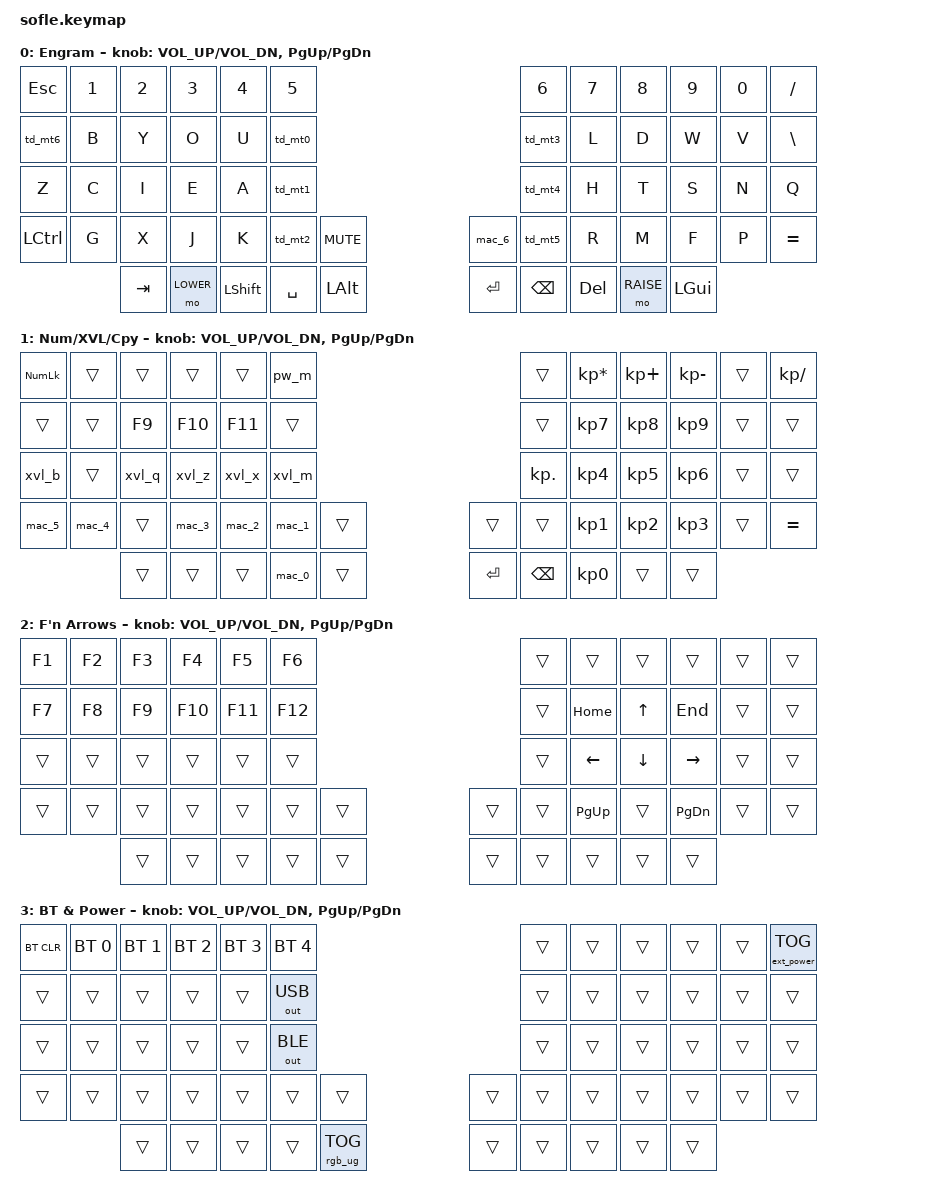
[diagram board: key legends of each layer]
/*
 * Copyright (c) 2020 The ZMK Contributors
 *
 * SPDX-License-Identifier: MIT
 */

#include <behaviors.dtsi>
#include <dt-bindings/zmk/keys.h>
#include <dt-bindings/zmk/bt.h>
#include <dt-bindings/zmk/rgb.h>
#include <dt-bindings/zmk/ext_power.h>
#include <dt-bindings/zmk/outputs.h>
#include <dt-bindings/zmk/rgb.h>

#define BASE 0
#define LOWER 1
#define RAISE 2
#define ADJUST 3

/{

   // Activate ADJUST layer by pressing raise and lower
   conditional_layers
   {
      compatible = "zmk,conditional-layers";
      adjust_layer
      {
         if-layers = <LOWER RAISE>;
         then-layer = <ADJUST>;
      };
   };

   behaviors
   {
      td0: tap_dance_0
      {
         compatible = "zmk,behavior-tap-dance";
         #binding-cells = <0>;
         tapping-term-ms = <200>;
         bindings = <&kp BACKSLASH>, <&kp PIPE>;
      };

      td1: tap_dance_1
      {
         compatible = "zmk,behavior-tap-dance";
         #binding-cells = <0>;
         tapping-term-ms = <200>;
         bindings = <&kp EQUAL>, <&kp PLUS>
         ;
      };

      td_mt0: tap_dance_mod_tap_0
      {
         compatible = "zmk,behavior-tap-dance";
         #binding-cells = <0>;
         tapping-term-ms = <200>;
		 bindings = <&mt LESS_THAN APOS>, <&kp MINUS>
         ;

      };

      td_mt1: tap_dance_mod_tap_1
      {
         compatible = "zmk,behavior-tap-dance";
         #binding-cells = <0>;
         tapping-term-ms = <200>;
	     bindings = <&mt SEMICOLON COMMA>, <&kp COLON>
         ;
      };

      td_mt2: tap_dance_mod_tap_2
      {
         compatible = "zmk,behavior-tap-dance";
         #binding-cells = <0>;
         tapping-term-ms = <200>;
	     bindings = <&mt LEFT_BRACE LPAR>, <&kp LEFT_BRACKET>
         ;
      };

      td_mt3: tap_dance_mod_tap_3
      {
         compatible = "zmk,behavior-tap-dance";
         #binding-cells = <0>;
         tapping-term-ms = <200>;
	      bindings = <&mt GREATER_THAN DOUBLE_QUOTES>, <&kp UNDERSCORE>
         ;
      };

      td_mt4: tap_dance_mod_tap_4
      {
         compatible = "zmk,behavior-tap-dance";
         #binding-cells = <0>;
         tapping-term-ms = <200>;
	      bindings = <&mt QUESTION PERIOD>, <&kp EXCLAMATION>
         ;
      };

      td_mt5: tap_dance_mod_tap_5
      {
         compatible = "zmk,behavior-tap-dance";
         #binding-cells = <0>;
         tapping-term-ms = <200>;
	     bindings = <&mt RIGHT_BRACE RPAR>, <&kp RIGHT_BRACKET>
         ;
      };

      td_mt6: tap_dance_mod_tap_6
      {
         compatible = "zmk,behavior-tap-dance";
         #binding-cells = <0>;
         tapping-term-ms = <200>;
         bindings = <&mt TILDE GRAVE>, <&kp CAPS>
         ;
      };
   };

   macros
   {
      mac_0: macro_0
      {
         compatible = "zmk,behavior-macro";
         #binding-cells = <0>;
         bindings =
         <&macro_press &kp LSHFT>,
         <&macro_press &kp LGUI>,
         <&macro_tap &kp S>,
         <&macro_release &kp LSHFT>,
         <&macro_release &kp LGUI>
         ;
      };

      mac_1: macro_1
      {
         compatible = "zmk,behavior-macro";
         #binding-cells = <0>;
         bindings =
         <&macro_press &kp LCTRL>,
         <&macro_tap &kp V>,
         <&macro_release &kp LCTRL>
         ;
      };

         mac_2: macro_2
      {
         compatible = "zmk,behavior-macro";
         #binding-cells = <0>;
         bindings =
         <&macro_press &kp LCTRL>,
         <&macro_tap &kp C>,
         <&macro_release &kp LCTRL>
         ;
      };

            mac_3: macro_3
      {
         compatible = "zmk,behavior-macro";
         #binding-cells = <0>;
         bindings =
         <&macro_press &kp LCTRL>,
         <&macro_tap &kp X>,
         <&macro_release &kp LCTRL>
         ;
      };
            mac_4: macro_4
      {
         compatible = "zmk,behavior-macro";
         #binding-cells = <0>;
         bindings =
         <&macro_press &kp LCTRL>,
         <&macro_tap &kp Y>,
         <&macro_release &kp LCTRL>
         ;
      };
            mac_5: macro_5
      {
         compatible = "zmk,behavior-macro";
         #binding-cells = <0>;
         bindings =
         <&macro_press &kp LCTRL>,
         <&macro_tap &kp Z>,
         <&macro_release &kp LCTRL>
         ;
      };

            mac_6: macro_6
      {
         compatible = "zmk,behavior-macro";
         #binding-cells = <0>;
         bindings =
         <&macro_press &kp LGUI>,
         <&macro_tap &kp L>,
         <&macro_release &kp LGUI>
         ;
      };
            xvl_b: macro_7
      {
         compatible = "zmk,behavior-macro";
         #binding-cells = <0>;
         bindings =
         <&macro_press &kp LALT>,
         <&macro_tap &kp B>,
         <&macro_release &kp LALT>
         ;
      };
               xvl_x: macro_8
      {
         compatible = "zmk,behavior-macro";
         #binding-cells = <0>;
         bindings =
         <&macro_press &kp LALT>,
         <&macro_tap &kp X>,
         <&macro_release &kp LALT>
         ;
      };
               xvl_z: macro_9
      {
         compatible = "zmk,behavior-macro";
         #binding-cells = <0>;
         bindings =
         <&macro_press &kp LALT>,
         <&macro_tap &kp Z>,
         <&macro_release &kp LALT>
         ;
      };
               xvl_q: macro_10
      {
         compatible = "zmk,behavior-macro";
         #binding-cells = <0>;
         bindings =
         <&macro_press &kp LALT>,
         <&macro_tap &kp Q>,
         <&macro_release &kp LALT>
         ;
      };
               xvl_m: macro_11
      {
         compatible = "zmk,behavior-macro";
         #binding-cells = <0>;
         bindings =
         <&macro_press &kp LCTRL>,
         <&macro_tap &kp M>,
         <&macro_release &kp LCTRL>
         ;
      };
               pw_m: macro_12
      {
         compatible = "zmk,behavior-macro";
         #binding-cells = <0>;
         bindings =
         <&macro_press &kp LSHFT>,
         <&macro_tap &kp E>,
         <&macro_release &kp LSHFT>,
		 <&macro_tap &kp R>,
		 <&macro_tap &kp N7>,
		 <&macro_tap &kp Z>,
		 <&macro_tap &kp N3>,
		 <&macro_tap &kp F>,
         <&macro_press &kp LSHFT>,
         <&macro_tap &kp G>,
         <&macro_release &kp LSHFT>,
		 <&macro_tap &kp N2>,
		 <&macro_tap &kp N0>,
		 <&macro_tap &kp N2>,
		 <&macro_tap &kp N5>
         ;
      };
    };

   keymap
   {
      compatible = "zmk,keymap";

      default_layer
      {
         display-name = "Engram";

// ------------------------------------------------------------------------------------------------------------
// |    ESC   |  1  |  2  |   3   |   4   |   5   |                                                 |   6   |  7  |   8   |   9   |  0  |    /    |
// | `/~/CAPS |  B  |  Y  |   O   |   U   | '/-/< |                                                 | "/_/> |  L  |   D   |   W   |  V  |  \  |
// |     Z    |  C  |  I  |   E   |   A   | ,/:/; |                                                 | ./!/? |  H  |   T   |   S   |  N  |    Q    |
// |   CTRL   |  G  |  X  |   J   |   K   | (/[/{ |..| MUTE |                            | LOCK  |..| )/]/} |  R  |   M   |   F   |  P  |   =   |
//                  | TAB | LOWER | SHIFT | SPACE |..| LALT |                            | ENTER |..| BKSPC | DEL | RAISE | SUPER |
            bindings =
            <
   &kp ESCAPE  &kp N1  &kp N2  &kp N3    &kp N4    &kp N5                                            &kp N6    &kp N7  &kp N8    &kp N9   &kp N0  &kp SLASH
   &td_mt6     &kp B   &kp Y   &kp O     &kp U     &td_mt0                                           &td_mt3   &kp L   &kp D     &kp W    &kp V   &kp BACKSLASH
   &kp Z       &kp C   &kp I   &kp E     &kp A     &td_mt1                                           &td_mt4   &kp H   &kp T     &kp S    &kp N   &kp Q
   &kp LCTRL   &kp G   &kp X   &kp J     &kp K     &td_mt2    &kp C_MUTE                   &mac_6    &td_mt5   &kp R   &kp M     &kp F    &kp P   &kp EQUAL
                       &kp TAB &mo LOWER &kp LSHFT &kp SPACE  &kp LALT                     &kp ENTER &kp BSPC  &kp DEL &mo RAISE &kp LGUI
            >;

         sensor-bindings = <&inc_dec_kp C_VOL_UP C_VOL_DN &inc_dec_kp PG_UP PG_DN>;
      };

      lower_layer
      {
         display-name = "Num/XVL/Cpy";

// TODO: Some binds are waiting for shifted keycode support.
// ------------------------------------------------------------------------------------------------------------
// | NUM  |  -   |   -   |   -   |   -   |   -   |                                               |   -  | * | + | "-" | - | / |
// |  -   |  -   |   F9  |  F10  |  F11  |   -   |                                               |   -  | 7 | 8 |  9  | - | - |
// | XVL B|  -   | XVL Q | XVL Z | XVL X | XVL M |                                               |  "." | 4 | 5 |  6  | - | - |
// | UNDO | REDO |   -   |  CUT  |  COPY | PASTE |..| - |                               |  -  |..|   -  | 1 | 2 |  3  | - | = |
//               |   -   |   -   |   -   | SNIP  |..| - |                               | RET |..| BACK | 0 | - | - |

         bindings =
         <
   &kp KP_NUM  &trans  &trans  &trans   &trans   &pw_m                                             &trans       &kp KP_MULTIPLY   &kp KP_PLUS  &kp KP_MINUS    &trans  &kp KP_DIVIDE 
   &trans      &trans  &kp F9  &kp F10  &kp F11  &trans                                            &trans       &kp KP_N7         &kp KP_N8    &kp KP_N9       &trans         &trans
   &xvl_b      &trans  &xvl_q  &xvl_z   &xvl_x   &xvl_m                                            &kp KP_DOT   &kp KP_N4         &kp KP_N5    &kp KP_N6       &trans         &trans
   &mac_5      &mac_4  &trans  &mac_3   &mac_2   &mac_1   &trans                       &trans      &trans       &kp KP_N1         &kp KP_N2    &kp KP_N3    &trans  &kp EQUAL
                       &trans  &trans   &trans   &mac_0   &trans                       &kp RETURN  &kp BSPC     &kp KP_N0         &trans       &trans
         >;

         sensor-bindings = <&inc_dec_kp C_VOL_UP C_VOL_DN &inc_dec_kp PG_UP PG_DN>;
      };

      raise_layer
      {
         display-name = "F'n Arrows";

// ------------------------------------------------------------------------------------------------------------
// |  F1  |  F2  | F3 |  F4 |  F5  |   F6  |                                                   | - |   -  |   -  |   -   | - | - |
// |  F7  |  F8  | F9 | F10 |  F11 |  F12  |                                                   | - | HOME |  UP  |  END  | - | - |
// |  -   |  -   | -  |  -  |  -   |   -   |                                                   | - | LEFT | DOWN | RIGHT | - | - |
// |  -   |  -   | -  |  -  |  -   |   -   |..| - |                                     | - |..| - | PGUP |   -  | PGDWN | - | - |
//               | -  |  -  |  -   |   -   |..| - |                                     | - |..| - |   -  |   -  |   -   |

         bindings =
         <
   &kp F1  &kp F2  &kp F3  &kp F4   &kp F5   &kp F6                                             &trans  &trans          &trans          &trans           &trans  &trans
   &kp F7  &kp F8  &kp F9  &kp F10  &kp F11  &kp F12                                            &trans  &kp HOME        &kp UP_ARROW    &kp END          &trans  &trans
   &trans  &trans  &trans  &trans   &trans   &trans                                             &trans  &kp LEFT_ARROW  &kp DOWN_ARROW  &kp RIGHT_ARROW  &trans  &trans
   &trans  &trans  &trans  &trans   &trans   &trans   &trans                            &trans  &trans  &kp PG_UP       &trans          &kp PG_DN        &trans  &trans
                   &trans  &trans   &trans   &trans   &trans                            &trans  &trans  &trans          &trans          &trans
         >;

         sensor-bindings = <&inc_dec_kp C_VOL_UP C_VOL_DN &inc_dec_kp PG_UP PG_DN>;
      };

      adjust_layer
      {
         display-name = "BT & Power";
// ------------------------------------------------------------------------------------------------------------
// | BTCLR | BT1 | BT2 | BT3 | BT4 | BT5 |                                                                             | - | - | - | - | - | EXTPWR |
// |   -   |  -  |  -  |  -  |  -  | USB |                                                                             | - | - | - | - | - |   -    |
// |   -   |  -  |  -  |  -  |  -  | BLE |                                                                             | - | - | - | - | - |   -    |
// |   -   |  -  |  -  |  -  |  -  |  -  |..| - |                                                               | - |..| - | - | - | - | - |   -    |
//               |  -  |  -  |  -  |  -  |..| RGBTOG |                                                          | - |..| - | - | - | - |

         bindings =
         <
   &bt BT_CLR  &bt BT_SEL 0  &bt BT_SEL 1  &bt BT_SEL 2  &bt BT_SEL 3  &bt BT_SEL 4                                     &trans  &trans  &trans  &trans  &trans  &ext_power EP_TOG
   &trans      &trans        &trans        &trans        &trans        &out OUT_USB                                     &trans  &trans  &trans  &trans  &trans  &trans
   &trans      &trans        &trans        &trans        &trans        &out OUT_BLE                                     &trans  &trans  &trans  &trans  &trans  &trans
   &trans      &trans        &trans        &trans        &trans        &trans        &trans                     &trans  &trans  &trans  &trans  &trans  &trans  &trans
                             &trans        &trans        &trans        &trans        &rgb_ug RGB_TOG            &trans  &trans  &trans  &trans  &trans
         >;

         sensor-bindings = <&inc_dec_kp C_VOL_UP C_VOL_DN &inc_dec_kp PG_UP PG_DN>;
      };

   };
};
